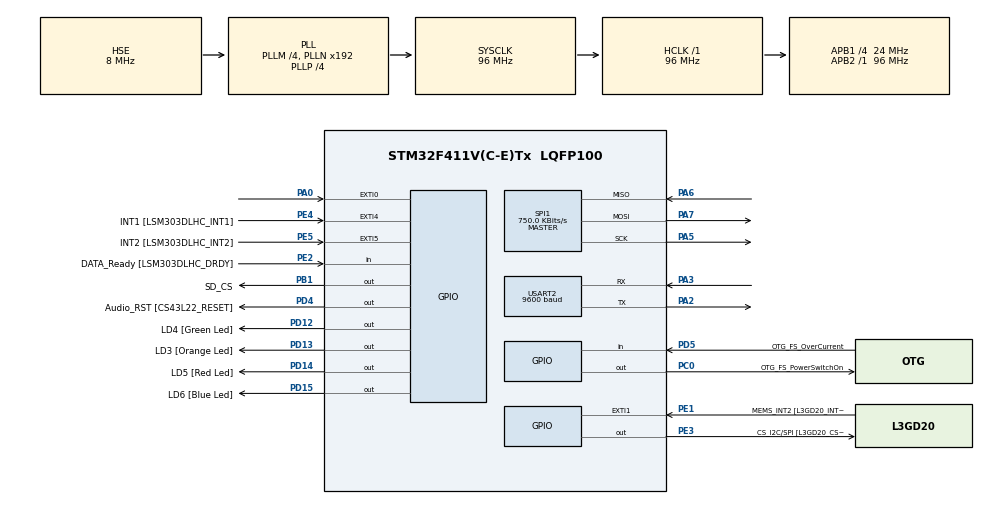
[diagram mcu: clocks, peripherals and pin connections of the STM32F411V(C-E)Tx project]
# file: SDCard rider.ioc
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Mcu.Family=STM32F4
Mcu.Name=STM32F411V(C-E)Tx
Mcu.Package=LQFP100
NVIC.PriorityGroup=NVIC_PRIORITYGROUP_0
PA0-WKUP.GPIO_ModeDefaultEXTI=GPIO_MODE_EVT_RISING
PA0-WKUP.Signal=GPXTI0
PA10.GPIO_Label=OTG_FS_ID
PA10.Signal=USB_OTG_FS_ID
PA11.GPIO_Label=OTG_FS_DM
PA11.Signal=USB_OTG_FS_DM
PA12.GPIO_Label=OTG_FS_DP
PA12.Signal=USB_OTG_FS_DP
PA13.GPIO_Label=SWDIO
PA13.Mode=Serial_Wire
PA13.Signal=SYS_JTMS-SWDIO
PA14.GPIO_Label=SWCLK
PA14.Mode=Serial_Wire
PA14.Signal=SYS_JTCK-SWCLK
PA2.Mode=Asynchronous
PA2.Signal=USART2_TX
PA3.Mode=Asynchronous
PA3.Signal=USART2_RX
PA4.GPIO_Label=I2S3_WS [CS43L22_LRCK]
PA4.GPIO_Mode=GPIO_MODE_AF_PP
PA4.GPIO_PuPd=GPIO_NOPULL
PA4.GPIO_Speed=GPIO_SPEED_FREQ_LOW
PA4.Signal=I2S3_WS
PA5.GPIO_Mode=GPIO_MODE_AF_PP
PA5.GPIO_PuPd=GPIO_PULLDOWN
PA5.GPIO_Speed=GPIO_SPEED_FREQ_VERY_HIGH
PA5.Mode=Full_Duplex_Master
PA5.Signal=SPI1_SCK
PA6.GPIO_Mode=GPIO_MODE_AF_PP
PA6.GPIO_PuPd=GPIO_PULLDOWN
PA6.GPIO_Speed=GPIO_SPEED_FREQ_VERY_HIGH
PA6.Mode=Full_Duplex_Master
PA6.Signal=SPI1_MISO
PA7.GPIO_Mode=GPIO_MODE_AF_PP
PA7.GPIO_PuPd=GPIO_PULLDOWN
PA7.GPIO_Speed=GPIO_SPEED_FREQ_VERY_HIGH
PA7.Mode=Full_Duplex_Master
PA7.Signal=SPI1_MOSI
PA9.GPIO_Label=VBUS_FS
PA9.Signal=USB_OTG_FS_VBUS
PB1.GPIO_Label=SD_CS
PB1.Signal=GPIO_Output
PB10.GPIO_Label=CLK_IN [MP45DT02_CLK]
PB10.Signal=I2S2_CK
PB12.Signal=I2S2_WS
PB3.GPIO_Label=SWO
PB3.Signal=SYS_JTDO-SWO
PB6.GPIO_Label=Audio_SCL [CS43L22_SCL]
PB6.GPIO_Mode=GPIO_MODE_AF_OD
PB6.GPIO_Pu=GPIO_PULLUP
PB6.GPIO_PuPd=GPIO_NOPULL
PB6.GPIO_Speed=GPIO_SPEED_FREQ_LOW
PB6.Signal=I2C1_SCL
PB9.GPIO_Label=Audio_SDA [CS43L22_SDA]
PB9.GPIO_Mode=GPIO_MODE_AF_OD
PB9.GPIO_Pu=GPIO_PULLUP
PB9.GPIO_PuPd=GPIO_NOPULL
PB9.GPIO_Speed=GPIO_SPEED_FREQ_LOW
PB9.Signal=I2C1_SDA
PC0.GPIO_Label=OTG_FS_PowerSwitchOn
PC0.PinState=GPIO_PIN_SET
PC0.Signal=GPIO_Output
PC10.GPIO_Label=I2S3_SCK [CS43L22_SCLK]
PC10.GPIO_Mode=GPIO_MODE_AF_PP
PC10.GPIO_PuPd=GPIO_NOPULL
PC10.GPIO_Speed=GPIO_SPEED_FREQ_LOW
PC10.Signal=I2S3_CK
PC12.GPIO_Label=I2S3_SD [CS43L22_SDIN]
PC12.GPIO_Mode=GPIO_MODE_AF_PP
PC12.GPIO_PuPd=GPIO_NOPULL
PC12.GPIO_Speed=GPIO_SPEED_FREQ_LOW
PC12.Signal=I2S3_SD
PC14-OSC32_IN.GPIO_Label=PC14-OSC32_IN
PC14-OSC32_IN.Mode=LSE-External-Oscillator
PC14-OSC32_IN.Signal=RCC_OSC32_IN
PC15-OSC32_OUT.GPIO_Label=PC15-OSC32_OUT
PC15-OSC32_OUT.Mode=LSE-External-Oscillator
PC15-OSC32_OUT.Signal=RCC_OSC32_OUT
PC3.GPIO_Label=PDM_OUT [MP45DT02_DOUT]
PC3.Signal=I2S2_SD
PC7.GPIO_Label=I2S3_MCK [CS43L22_MCLK]
PC7.GPIO_Mode=GPIO_MODE_AF_PP
PC7.GPIO_PuPd=GPIO_NOPULL
PC7.GPIO_Speed=GPIO_SPEED_FREQ_LOW
PC7.Signal=I2S3_MCK
PD12.GPIO_Label=LD4 [Green Led]
PD12.GPIO_PuPd=GPIO_NOPULL
PD12.GPIO_Speed=GPIO_SPEED_FREQ_LOW
PD12.Signal=GPIO_Output
PD13.GPIO_Label=LD3 [Orange Led]
PD13.GPIO_PuPd=GPIO_NOPULL
PD13.GPIO_Speed=GPIO_SPEED_FREQ_LOW
PD13.Signal=GPIO_Output
PD14.GPIO_Label=LD5 [Red Led]
PD14.GPIO_PuPd=GPIO_NOPULL
PD14.GPIO_Speed=GPIO_SPEED_FREQ_LOW
PD14.Signal=GPIO_Output
PD15.GPIO_Label=LD6 [Blue Led]
PD15.GPIO_PuPd=GPIO_NOPULL
PD15.GPIO_Speed=GPIO_SPEED_FREQ_LOW
PD15.Signal=GPIO_Output
PD4.GPIO_Label=Audio_RST [CS43L22_RESET]
PD4.Signal=GPIO_Output
PD5.GPIO_Label=OTG_FS_OverCurrent
PD5.Signal=GPIO_Input
PE1.GPIO_Label=MEMS_INT2 [L3GD20_INT2]
PE1.GPIO_ModeDefaultEXTI=GPIO_MODE_EVT_RISING
PE1.Signal=GPXTI1
PE2.GPIO_Label=DATA_Ready [LSM303DLHC_DRDY]
PE2.Signal=GPIO_Input
PE3.GPIO_Label=CS_I2C/SPI [L3GD20_CS_I2C/SPI]
PE3.Signal=GPIO_Output
PE4.GPIO_Label=INT1 [LSM303DLHC_INT1]
PE4.GPIO_ModeDefaultEXTI=GPIO_MODE_EVT_RISING
PE4.Signal=GPXTI4
PE5.GPIO_Label=INT2 [LSM303DLHC_INT2]
PE5.GPIO_ModeDefaultEXTI=GPIO_MODE_EVT_RISING
PE5.Signal=GPXTI5
PH0\ -\ OSC_IN.GPIO_Label=PH0-OSC_IN
PH0\ -\ OSC_IN.Mode=HSE-External-Oscillator
PH0\ -\ OSC_IN.Signal=RCC_OSC_IN
PH1\ -\ OSC_OUT.GPIO_Label=PH1-OSC_OUT
PH1\ -\ OSC_OUT.Mode=HSE-External-Oscillator
PH1\ -\ OSC_OUT.Signal=RCC_OSC_OUT
ProjectManager.HeapSize=0x200
ProjectManager.StackSize=0x400
ProjectManager.TargetToolchain=STM32CubeIDE
RCC.48MHZClocksFreq_Value=48000000
RCC.AHBFreq_Value=96000000
RCC.APB1CLKDivider=RCC_HCLK_DIV4
RCC.APB1Freq_Value=24000000
RCC.APB1TimFreq_Value=48000000
RCC.APB2Freq_Value=96000000
RCC.APB2TimFreq_Value=96000000
RCC.CortexFreq_Value=96000000
RCC.HCLKFreq_Value=96000000
RCC.HSE_VALUE=8000000
RCC.HSI_VALUE=16000000
RCC.PLLI2SM=5
RCC.PLLI2SN=200
RCC.PLLM=4
RCC.PLLP=RCC_PLLP_DIV4
RCC.PLLQ=8
RCC.PLLSourceVirtual=RCC_PLLSOURCE_HSE
RCC.SYSCLKFreq_VALUE=96000000
RCC.SYSCLKSource=RCC_SYSCLKSOURCE_PLLCLK
RCC.VCOOutputFreq_Value=384000000
SPI1.BaudRatePrescaler=SPI_BAUDRATEPRESCALER_128
SPI1.CalculateBaudRate=750.0 KBits/s
SPI1.Direction=SPI_DIRECTION_2LINES
SPI1.Mode=SPI_MODE_MASTER
SPI1.VirtualType=VM_MASTER
USART2.BaudRate=9600
USART2.VirtualMode=VM_ASYNC
VP_FATFS_VS_Generic.Mode=User_defined
VP_RTC_VS_RTC_Activate.Mode=RTC_Enabled
board=STM32F411E-DISCO

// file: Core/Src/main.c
/* USER CODE BEGIN Header */
/**
 ******************************************************************************
 *@file           : main.c
 *@brief          : Main program body
 ******************************************************************************
 *@attention
 *
 *<h2><center>&copy; Copyright (c) 2021 STMicroelectronics.
 *All rights reserved.</center></h2>
 *
 *This software component is licensed by ST under Ultimate Liberty license
 *SLA0044, the "License"; You may not use this file except in compliance with
 *the License. You may obtain a copy of the License at:
 *                            www.st.com/SLA0044
 *
 ******************************************************************************
 */
/* USER CODE END Header */
#include "main.h"
#include "fatfs.h"
#include "rtc.h"
#include "spi.h"
#include "usart.h"
#include "gpio.h"

/* USER CODE BEGIN Includes */
#include <stdio.h>
#include <string.h>

/* USER CODE END Includes */

/* USER CODE BEGIN PD */
// 70 kb for programm
#define MAIN_PROGRAM_START_ADDRESS 0x8060000
#define MAIN_PROGRAM_END_ADDRESS 0x807FFFF
#define FW_START 5
#define FW_READ 1000
#define FW_WRITE 2000
#define FW_FINISH 10000
#define FW_ERROR 100000

typedef enum
{
	DATA_TYPE_8 = 0,
		DATA_TYPE_16,
		DATA_TYPE_32,
}
DataTypeDef;

typedef void (application_t)(void);

typedef struct
{
    uint32_t		stack_addr;     // Stack Pointer
    application_t*	func_p;        // Program Counter
} JumpStruct;

char fileName[] = "rtocs.bin";
char firmwareName[] = "f.bin";

/* USER CODE END PD */

void SystemClock_Config(void);
/* USER CODE BEGIN PFP */
void myprintf(const char *fmt);
void ExecMainFW(void);
/* USER CODE END PFP */

/* USER CODE BEGIN 0 */

#define myprintf(...) sprintf((char*) msg, __VA_ARGS__);\
		HAL_UART_Transmit(&huart2, (uint8_t*) msg, strlen(msg), HAL_MAX_DELAY);

static char msg[256];

uint32_t MY_SectorAddrs;
uint8_t MY_SectorNum;

void MY_FLASH_EraseSector(void)
{
	HAL_FLASH_Unlock();
	//Erase the required Flash sector
	FLASH_Erase_Sector(MY_SectorNum, FLASH_VOLTAGE_RANGE_3);
	HAL_FLASH_Lock();
}

void MY_FLASH_SetSectorAddrs(uint8_t sector, uint32_t addrs)
{
	MY_SectorNum = sector;
	MY_SectorAddrs = addrs;
}

// https://github.com/MYaqoobEmbedded/STM32-Tutorials/blob/master/Tutorial%2030%20-%20FLASH%20Memory/MY_FLASH.c
void MY_FLASH_WriteN(uint32_t idx, void *wrBuf, uint32_t Nsize, DataTypeDef dataType)
{
	uint32_t flashAddress = MY_SectorAddrs + idx;

	//Unlock Flash
	HAL_FLASH_Unlock();
	//Write to Flash
	switch (dataType)
	{
		case DATA_TYPE_8:
			for (uint32_t i = 0; i < Nsize; i++)
			{
				HAL_FLASH_Program(FLASH_TYPEPROGRAM_BYTE, flashAddress, ((uint8_t*) wrBuf)[i]);
				flashAddress++;
			}
			break;

		case DATA_TYPE_16:
			for (uint32_t i = 0; i < Nsize; i++)
			{
				HAL_FLASH_Program(FLASH_TYPEPROGRAM_HALFWORD, flashAddress, ((uint16_t*) wrBuf)[i]);
				flashAddress += 2;
			}
			break;

		case DATA_TYPE_32:
			for (uint32_t i = 0; i < Nsize; i++)
			{
				HAL_FLASH_Program(FLASH_TYPEPROGRAM_WORD, flashAddress, ((uint32_t*) wrBuf)[i]);
				flashAddress += 4;
			}
			break;
	}
	//Lock the Flash space
	HAL_FLASH_Lock();
}

void MY_FLASH_ReadN(uint32_t idx, void *rdBuf, uint32_t Nsize, DataTypeDef dataType)
{
	uint32_t flashAddress = MY_SectorAddrs + idx;

	switch (dataType)
	{
		case DATA_TYPE_8:
			for (uint32_t i = 0; i < Nsize; i++)
			{ 	*((uint8_t*) rdBuf + i) = *(uint8_t*) flashAddress;
				flashAddress++;
			}
			break;

		case DATA_TYPE_16:
			for (uint32_t i = 0; i < Nsize; i++)
			{ 	*((uint16_t*) rdBuf + i) = *(uint16_t*) flashAddress;
				flashAddress += 2;
			}
			break;

		case DATA_TYPE_32:
			for (uint32_t i = 0; i < Nsize; i++)
			{ 	*((uint32_t*) rdBuf + i) = *(uint32_t*) flashAddress;
				flashAddress += 4;
			}
			break;
	}
}

void errorBlink()
{
	HAL_GPIO_WritePin(LD5_GPIO_Port, LD5_Pin, GPIO_PIN_SET);
}

void successBlink()
{
	HAL_GPIO_WritePin(LD4_GPIO_Port, LD4_Pin, GPIO_PIN_SET);
}
/* USER CODE END 0 */

int main(void)
{

  /* MCU Configuration--------------------------------------------------------*/

  /* Reset of all peripherals, Initializes the Flash interface and the Systick. */
  HAL_Init();

  /* Configure the system clock */
  SystemClock_Config();

  /* USER CODE BEGIN SysInit */
	HAL_Delay(2000);
  /* USER CODE END SysInit */

  /* Initialize all configured peripherals */
  MX_GPIO_Init();
  MX_SPI1_Init();
  MX_FATFS_Init();
  MX_USART2_UART_Init();
  MX_RTC_Init();
  /* USER CODE BEGIN 2 */

	uint32_t t;
	uint32_t fw_step = FW_READ;	// finite state machine currenst state

	uint32_t fw_buf[512];

	// index will be added to offset produced by the beginning sector
	uint32_t idx = 0;
	uint32_t firmware_size = 0;

	FATFS FS;
	FIL F;

	uint16_t reg_1, reg_2;

	HAL_PWR_EnableBkUpAccess();
	reg_1 = HAL_RTCEx_BKUPRead(&hrtc, RTC_BKP_DR1);
	reg_2 = HAL_RTCEx_BKUPRead(&hrtc, RTC_BKP_DR2);
	uint16_t firstIteration = HAL_RTCEx_BKUPRead(&hrtc, RTC_BKP_DR3);
	if (!firstIteration) {
		reg_1 = 1;
		reg_2 = 1;
	} else {
		reg_1 = HAL_RTCEx_BKUPRead(&hrtc, RTC_BKP_DR1);
		reg_2 = HAL_RTCEx_BKUPRead(&hrtc, RTC_BKP_DR2);
		HAL_RTCEx_BKUPWrite(&hrtc, RTC_BKP_DR1, 0);
		HAL_RTCEx_BKUPWrite(&hrtc, RTC_BKP_DR2, 0);

	}

	HAL_PWR_DisableBkUpAccess();

	if (reg_1 == 0) {
		myprintf("Jumping to application without flashing\n");
		fw_step = FW_FINISH;
	} else {
		if (reg_2 == 0 && firstIteration != 0) {
			myprintf("Flashing and jumping to uploaded firmware\n");
			sprintf(fileName, "%s", firmwareName);
		} else {
			myprintf("Flashing and jumping to initial firmware\n");
		}
	}

  /* USER CODE END 2 */

  /* Infinite loop */
	while (1)
	{

    /* USER CODE BEGIN 3 */
		switch (fw_step)
		{
			case FW_READ:
				{
				 		// opens the sd card
					if (f_mount(&FS, "", 1) == FR_OK)
					{
						if (f_open(&F, fileName, FA_READ) == FR_OK)
						{
							f_lseek(&F, 0);
							myprintf("Updating firmware\n");

							myprintf("Erasing the flash segment\n");
							myprintf("------------------------------------\n");

							// we choose the last sector, so to make this as safe as possible
							MY_FLASH_SetSectorAddrs(7, MAIN_PROGRAM_START_ADDRESS);
							MY_FLASH_EraseSector();

							// TODO: do we need to add here 4 (for vector table relocation);
							// idx = MAIN_PROGRAM_START_ADDRESS;
							idx = 0;
							fw_step = FW_READ + 20;

							firmware_size = f_size(&F);
							myprintf("Size of firmware: %ld\n", firmware_size);
						}
						else
						{
							myprintf("There is no firmware file\n");
							fw_step = FW_FINISH;
						}
					}
					else
					{
						myprintf("There is no sd-card\n");
						fw_step = FW_FINISH;
					}
					break;
				}

			case FW_READ + 20:	// Flash Firmware
				{
					myprintf("Writing the firmware into flash\n");

					if (idx > firmware_size)
					{
						myprintf("Done!\n");
						f_unlink(fileName);
						// demount the device
						f_mount(NULL, "", 0);
						fw_step = FW_FINISH;
						break;
					}

					myprintf("Current index: %ld; chunk to write: %d\n", idx, sizeof(fw_buf));

					f_read(&F, &fw_buf, sizeof(fw_buf), (UINT *) &t);
					if (t != sizeof(fw_buf))
					{
						if (idx + t + sizeof(fw_buf) > firmware_size) {
							myprintf("Writing last chunk...\n");
						} else {
							myprintf("Error while reading from sd, chunk to small: %ld\n", t);
							fw_step = FW_ERROR;
							break;
						}
					}

					// for(t = 0; t < sizeof(fw_buf); t += 4)
					//    FLASH_ProgramWord(idx+t, aes_buf[t/4]);

					MY_FLASH_WriteN(idx, fw_buf, sizeof(fw_buf) / sizeof(fw_buf[0]), DATA_TYPE_32);

					// as index is counted in bytes
					idx += sizeof(fw_buf);

					break;
				}

			case FW_ERROR:
				{
					break;
				}

			case FW_FINISH:
				{
					ExecMainFW();

					break;
				}
		}
	}
  /* USER CODE END 3 */
}

void SystemClock_Config(void)
{
  RCC_OscInitTypeDef RCC_OscInitStruct = {0};
  RCC_ClkInitTypeDef RCC_ClkInitStruct = {0};

  /** Configure the main internal regulator output voltage
  */
  __HAL_RCC_PWR_CLK_ENABLE();
  __HAL_PWR_VOLTAGESCALING_CONFIG(PWR_REGULATOR_VOLTAGE_SCALE1);
  /** Initializes the RCC Oscillators according to the specified parameters
  * in the RCC_OscInitTypeDef structure.
  */
  RCC_OscInitStruct.OscillatorType = RCC_OSCILLATORTYPE_LSI|RCC_OSCILLATORTYPE_HSE;
  RCC_OscInitStruct.HSEState = RCC_HSE_ON;
  RCC_OscInitStruct.LSIState = RCC_LSI_ON;
  RCC_OscInitStruct.PLL.PLLState = RCC_PLL_ON;
  RCC_OscInitStruct.PLL.PLLSource = RCC_PLLSOURCE_HSE;
  RCC_OscInitStruct.PLL.PLLM = 4;
  RCC_OscInitStruct.PLL.PLLN = 192;
  RCC_OscInitStruct.PLL.PLLP = RCC_PLLP_DIV4;
  RCC_OscInitStruct.PLL.PLLQ = 8;
  if (HAL_RCC_OscConfig(&RCC_OscInitStruct) != HAL_OK)
  {
    Error_Handler();
  }
  /** Initializes the CPU, AHB and APB buses clocks
  */
  RCC_ClkInitStruct.ClockType = RCC_CLOCKTYPE_HCLK|RCC_CLOCKTYPE_SYSCLK
                              |RCC_CLOCKTYPE_PCLK1|RCC_CLOCKTYPE_PCLK2;
  RCC_ClkInitStruct.SYSCLKSource = RCC_SYSCLKSOURCE_PLLCLK;
  RCC_ClkInitStruct.AHBCLKDivider = RCC_SYSCLK_DIV1;
  RCC_ClkInitStruct.APB1CLKDivider = RCC_HCLK_DIV4;
  RCC_ClkInitStruct.APB2CLKDivider = RCC_HCLK_DIV1;

  if (HAL_RCC_ClockConfig(&RCC_ClkInitStruct, FLASH_LATENCY_3) != HAL_OK)
  {
    Error_Handler();
  }
}

/* USER CODE BEGIN 4 */
void ExecMainFW()
{
	// setting jump address, +4 bytes as we need to put the
	// irq table in the very beginning
	// uint32_t jumpAddress = *(__IO uint32_t *)(MAIN_PROGRAM_START_ADDRESS + 4);

	// deinit usart
	HAL_UART_DeInit(&huart2);

	// deinit spi and fatfs
	HAL_SPI_DeInit(&hspi1);

	// HAL_USART2_UART_DeInit(&huart2);
	__HAL_RCC_GPIOC_CLK_DISABLE();
	__HAL_RCC_GPIOD_CLK_DISABLE();
	__HAL_RCC_GPIOB_CLK_DISABLE();
	__HAL_RCC_GPIOA_CLK_DISABLE();
	HAL_RCC_DeInit();
	HAL_DeInit();
	SysTick->CTRL = 0;
	SysTick->LOAD = 0;
	SysTick->VAL = 0;

	__disable_irq();
	// NVIC_SetVectorTable(NVIC_VectTab_FLASH, MAIN_PROGRAM_START_ADDRESS);
	// SCB->VTOR = MAIN_PROGRAM_START_ADDRESS;
	// __set_MSP(*(__IO uint32_t *) MAIN_PROGRAM_START_ADDRESS);

	const JumpStruct* vector_p = (JumpStruct*) MAIN_PROGRAM_START_ADDRESS;
	asm("msr msp, %0; bx %1;" : : "r"(vector_p->stack_addr), "r"(vector_p->func_p));
}

/* USER CODE END 4 */

void Error_Handler(void)
{
  /* USER CODE BEGIN Error_Handler_Debug */
	/*User can add his own implementation to report the HAL error return state */
	__disable_irq();
	while (1) {}
  /* USER CODE END Error_Handler_Debug */
}

#ifdef  USE_FULL_ASSERT
/**
  * @brief  Reports the name of the source file and the source line number
  *         where the assert_param error has occurred.
  * @param  file: pointer to the source file name
  * @param  line: assert_param error line source number
  * @retval None
  */
void assert_failed(uint8_t *file, uint32_t line)
{
  /* USER CODE BEGIN 6 */
	/*User can add his own implementation to report the file name and line number,
	   ex: printf("Wrong parameters value: file %s on line %d\r\n", file, line) */
  /* USER CODE END 6 */
}
#endif /* USE_FULL_ASSERT */

/************************ (C) COPYRIGHT STMicroelectronics *****END OF FILE****/
